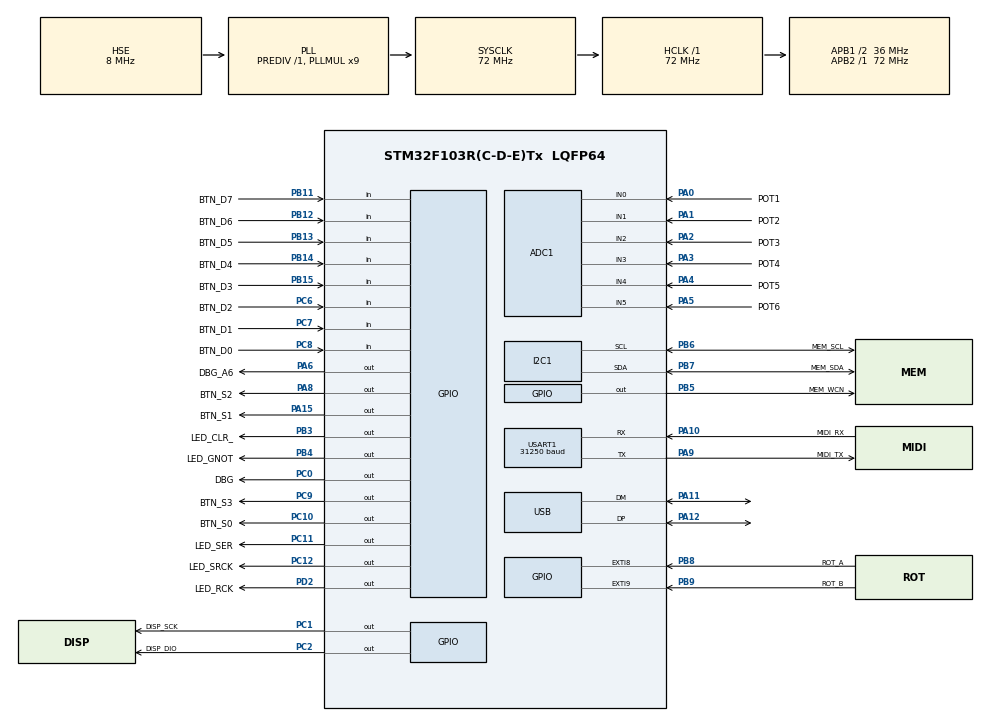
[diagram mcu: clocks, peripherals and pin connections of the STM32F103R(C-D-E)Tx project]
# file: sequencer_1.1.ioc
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ADC1.Channel-0\#ChannelRegularConversion=ADC_CHANNEL_3
ADC1.Channel-1\#ChannelRegularConversion=ADC_CHANNEL_4
ADC1.Channel-2\#ChannelRegularConversion=ADC_CHANNEL_5
ADC1.ContinuousConvMode=ENABLE
ADC1.NbrOfConversion=3
ADC1.NbrOfConversionFlag=1
ADC1.Rank-0\#ChannelRegularConversion=1
ADC1.Rank-1\#ChannelRegularConversion=2
ADC1.Rank-2\#ChannelRegularConversion=3
ADC1.SamplingTime-0\#ChannelRegularConversion=ADC_SAMPLETIME_55CYCLES_5
ADC1.SamplingTime-1\#ChannelRegularConversion=ADC_SAMPLETIME_55CYCLES_5
ADC1.SamplingTime-2\#ChannelRegularConversion=ADC_SAMPLETIME_55CYCLES_5
ADC1.master=1
Dma.ADC1.0.Direction=DMA_PERIPH_TO_MEMORY
Dma.ADC1.0.Instance=DMA1_Channel1
Dma.ADC1.0.MemDataAlignment=DMA_MDATAALIGN_HALFWORD
Dma.ADC1.0.MemInc=DMA_MINC_ENABLE
Dma.ADC1.0.Mode=DMA_CIRCULAR
Dma.ADC1.0.PeriphDataAlignment=DMA_PDATAALIGN_HALFWORD
Dma.ADC1.0.PeriphInc=DMA_PINC_DISABLE
Dma.ADC1.0.Priority=DMA_PRIORITY_LOW
Dma.Request0=ADC1
Dma.Request1=USART1_RX
Dma.USART1_RX.1.Direction=DMA_PERIPH_TO_MEMORY
Dma.USART1_RX.1.Instance=DMA1_Channel5
Dma.USART1_RX.1.MemDataAlignment=DMA_MDATAALIGN_BYTE
Dma.USART1_RX.1.MemInc=DMA_MINC_ENABLE
Dma.USART1_RX.1.Mode=DMA_CIRCULAR
Dma.USART1_RX.1.PeriphDataAlignment=DMA_PDATAALIGN_BYTE
Dma.USART1_RX.1.PeriphInc=DMA_PINC_DISABLE
Dma.USART1_RX.1.Priority=DMA_PRIORITY_LOW
FREERTOS.BinarySemaphores01=myBinarySem01,Dynamic,NULL,Available
FREERTOS.Tasks01=defaultTask,0,128,StartDefaultTask,Default,NULL,Dynamic,NULL,NULL
Mcu.Family=STM32F1
Mcu.Name=STM32F103R(C-D-E)Tx
Mcu.Package=LQFP64
NVIC.DMA1_Channel1_IRQn=true\:5\:0\:false\:false\:true\:true\:false\:true\:true
NVIC.DMA1_Channel5_IRQn=true\:5\:0\:false\:false\:true\:true\:false\:true\:true
NVIC.EXTI9_5_IRQn=true\:5\:0\:false\:false\:true\:true\:true\:true\:true
NVIC.PriorityGroup=NVIC_PRIORITYGROUP_4
NVIC.TIM1_UP_IRQn=true\:2\:0\:true\:false\:true\:false\:true\:true\:true
NVIC.TIM3_IRQn=true\:0\:0\:true\:false\:true\:false\:true\:true\:true
NVIC.TIM7_IRQn=true\:15\:0\:false\:false\:true\:false\:false\:true\:true
NVIC.TimeBase=TIM7_IRQn
NVIC.TimeBaseIP=TIM7
NVIC.USART1_IRQn=true\:1\:0\:true\:false\:true\:false\:true\:true\:true
PA0-WKUP.GPIO_Label=POT1
PA0-WKUP.Signal=ADCx_IN0
PA1.GPIO_Label=POT2
PA1.Signal=ADCx_IN1
PA10.GPIO_Label=MIDI_RX
PA10.Mode=Asynchronous
PA10.Signal=USART1_RX
PA11.Mode=Device
PA11.Signal=USB_DM
PA12.Mode=Device
PA12.Signal=USB_DP
PA13.Mode=Serial_Wire
PA13.Signal=SYS_JTMS-SWDIO
PA14.Mode=Serial_Wire
PA14.Signal=SYS_JTCK-SWCLK
PA15.GPIO_Label=BTN_S1
PA15.Signal=GPIO_Output
PA2.GPIO_Label=POT3
PA2.Signal=ADCx_IN2
PA3.GPIO_Label=POT4
PA3.Signal=ADCx_IN3
PA4.GPIO_Label=POT5
PA4.Signal=ADCx_IN4
PA5.GPIO_Label=POT6
PA5.Signal=ADCx_IN5
PA6.GPIO_Label=DBG_A6
PA6.Signal=GPIO_Output
PA8.GPIO_Label=BTN_S2
PA8.Signal=GPIO_Output
PA9.GPIO_Label=MIDI_TX
PA9.Mode=Asynchronous
PA9.Signal=USART1_TX
PB11.GPIO_Label=BTN_D7
PB11.GPIO_PuPd=GPIO_PULLDOWN
PB11.Signal=GPIO_Input
PB12.GPIO_Label=BTN_D6
PB12.GPIO_PuPd=GPIO_PULLDOWN
PB12.Signal=GPIO_Input
PB13.GPIO_Label=BTN_D5
PB13.GPIO_PuPd=GPIO_PULLDOWN
PB13.Signal=GPIO_Input
PB14.GPIO_Label=BTN_D4
PB14.GPIO_PuPd=GPIO_PULLDOWN
PB14.Signal=GPIO_Input
PB15.GPIO_Label=BTN_D3
PB15.GPIO_PuPd=GPIO_PULLDOWN
PB15.Signal=GPIO_Input
PB3.GPIO_Label=LED_CLR_
PB3.GPIO_ModeDefaultOutputPP=GPIO_MODE_OUTPUT_OD
PB3.GPIO_PuPd=GPIO_NOPULL
PB3.PinState=GPIO_PIN_SET
PB3.Signal=GPIO_Output
PB4.GPIO_Label=LED_GNOT
PB4.GPIO_ModeDefaultOutputPP=GPIO_MODE_OUTPUT_OD
PB4.GPIO_PuPd=GPIO_NOPULL
PB4.PinState=GPIO_PIN_SET
PB4.Signal=GPIO_Output
PB5.GPIO_Label=MEM_WCN
PB5.GPIO_ModeDefaultOutputPP=GPIO_MODE_OUTPUT_PP
PB5.GPIO_PuPd=GPIO_NOPULL
PB5.PinState=GPIO_PIN_SET
PB5.Signal=GPIO_Output
PB6.GPIO_Label=MEM_SCL
PB6.Mode=I2C
PB6.Signal=I2C1_SCL
PB7.GPIO_Label=MEM_SDA
PB7.Mode=I2C
PB7.Signal=I2C1_SDA
PB8.GPIO_Label=ROT_A
PB8.GPIO_ModeDefaultEXTI=GPIO_MODE_IT_RISING_FALLING
PB8.GPIO_PuPd=GPIO_PULLUP
PB8.Signal=GPXTI8
PB9.GPIO_Label=ROT_B
PB9.GPIO_ModeDefaultEXTI=GPIO_MODE_IT_RISING_FALLING
PB9.GPIO_PuPd=GPIO_PULLUP
PB9.Signal=GPXTI9
PC0.GPIO_Label=DBG
PC0.Signal=GPIO_Output
PC1.GPIO_Label=DISP_SCK
PC1.GPIO_ModeDefaultOutputPP=GPIO_MODE_OUTPUT_OD
PC1.GPIO_PuPd=GPIO_NOPULL
PC1.PinState=GPIO_PIN_SET
PC1.Signal=GPIO_Output
PC10.GPIO_Label=BTN_S0
PC10.Signal=GPIO_Output
PC11.GPIO_Label=LED_SER
PC11.GPIO_ModeDefaultOutputPP=GPIO_MODE_OUTPUT_OD
PC11.GPIO_PuPd=GPIO_NOPULL
PC11.PinState=GPIO_PIN_SET
PC11.Signal=GPIO_Output
PC12.GPIO_Label=LED_SRCK
PC12.GPIO_ModeDefaultOutputPP=GPIO_MODE_OUTPUT_OD
PC12.GPIO_PuPd=GPIO_NOPULL
PC12.PinState=GPIO_PIN_SET
PC12.Signal=GPIO_Output
PC2.GPIO_Label=DISP_DIO
PC2.GPIO_ModeDefaultOutputPP=GPIO_MODE_OUTPUT_OD
PC2.GPIO_PuPd=GPIO_NOPULL
PC2.PinState=GPIO_PIN_SET
PC2.Signal=GPIO_Output
PC6.GPIO_Label=BTN_D2
PC6.GPIO_PuPd=GPIO_PULLDOWN
PC6.Signal=GPIO_Input
PC7.GPIO_Label=BTN_D1
PC7.GPIO_PuPd=GPIO_PULLDOWN
PC7.Signal=GPIO_Input
PC8.GPIO_Label=BTN_D0
PC8.GPIO_PuPd=GPIO_PULLDOWN
PC8.Signal=GPIO_Input
PC9.GPIO_Label=BTN_S3
PC9.Signal=GPIO_Output
PD0-OSC_IN.Mode=HSE-External-Oscillator
PD0-OSC_IN.Signal=RCC_OSC_IN
PD1-OSC_OUT.Mode=HSE-External-Oscillator
PD1-OSC_OUT.Signal=RCC_OSC_OUT
PD2.GPIO_Label=LED_RCK
PD2.GPIO_ModeDefaultOutputPP=GPIO_MODE_OUTPUT_OD
PD2.GPIO_PuPd=GPIO_NOPULL
PD2.PinState=GPIO_PIN_SET
PD2.Signal=GPIO_Output
ProjectManager.HeapSize=0x200
ProjectManager.StackSize=0x400
ProjectManager.TargetToolchain=CMake
RCC.ADCPresc=RCC_ADCPCLK2_DIV6
RCC.AHBFreq_Value=72000000
RCC.APB1CLKDivider=RCC_HCLK_DIV2
RCC.APB1Freq_Value=36000000
RCC.APB1TimFreq_Value=72000000
RCC.APB2Freq_Value=72000000
RCC.APB2TimFreq_Value=72000000
RCC.HCLKFreq_Value=72000000
RCC.PLLMUL=RCC_PLL_MUL9
RCC.PLLSourceVirtual=RCC_PLLSOURCE_HSE
RCC.SYSCLKFreq_VALUE=72000000
RCC.SYSCLKSource=RCC_SYSCLKSOURCE_PLLCLK
RCC.USBFreq_Value=48000000
RCC.USBPrescaler=RCC_USBCLKSOURCE_PLL_DIV1_5
SH.ADCx_IN0.0=ADC1_IN0,IN0
SH.ADCx_IN1.0=ADC1_IN1,IN1
SH.ADCx_IN2.0=ADC1_IN2,IN2
SH.ADCx_IN3.0=ADC1_IN3,IN3
SH.ADCx_IN4.0=ADC1_IN4,IN4
SH.ADCx_IN5.0=ADC1_IN5,IN5
TIM1.Period=1000-1
TIM1.Prescaler=72-1
TIM2.Period=65535
TIM2.Prescaler=72-1
TIM3.Period=100
TIM3.Prescaler=72-1
USART1.BaudRate=31250
USART1.VirtualMode=VM_ASYNC
VP_FREERTOS_VS_CMSIS_V1.Mode=CMSIS_V1
VP_SYS_VS_tim7.Mode=TIM7
VP_TIM1_VS_ClockSourceINT.Mode=Internal
VP_TIM2_VS_ClockSourceINT.Mode=Internal
VP_TIM3_VS_ClockSourceINT.Mode=Internal
board=custom

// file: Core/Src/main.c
/* USER CODE BEGIN Header */
/**
  ******************************************************************************
  * @file           : main.c
  * @brief          : Main program body
  ******************************************************************************
  * @attention
  *
  * Copyright (c) 2025 STMicroelectronics.
  * All rights reserved.
  *
  * This software is licensed under terms that can be found in the LICENSE file
  * in the root directory of this software component.
  * If no LICENSE file comes with this software, it is provided AS-IS.
  *
  ******************************************************************************
  */
/* USER CODE END Header */
#include "main.h"
#include "cmsis_os.h"
#include "adc.h"
#include "dma.h"
#include "i2c.h"
#include "tim.h"
#include "usart.h"
#include "usb.h"
#include "gpio.h"

/* USER CODE BEGIN Includes */
#include "led.h"
#include "tasks.h"
#include "midi.h"
#include "uart_buffer.h"
#include "app.h"
#include "buttons.h"

/* USER CODE END Includes */

void SystemClock_Config(void);
void MX_FREERTOS_Init(void);

/* USER CODE BEGIN 0 */

volatile uint8 rotA_cooldownMs = 0;
volatile uint8 rotB_cooldownMs = 0;

volatile uint8 tempoChangeCooldown = 0;

volatile uint16 counter_100us = 0;

volatile uint32 lastTimestamp = 0;
volatile uint32 nextTimestamp = 0;

volatile uint16 syncCnt = 0;            // midi sync event counter

const uint8_t midiClockMsg = 0xF8;

/**
  * @brief  Calculate the new value for the 100us counter based on the tempo change event
  * @param cntr_100us     current value of the counter
  * @param syncCntr       the counter which holds the index of the sync event already reached in the timestamp table
  * @param timestamps     pointer to the timestamps table (which should be already updated by the main task by now)
  * @param lastTimestamp  where the last timestamp was according to the table before the tempo change
  * @param nextTimestamp  where the next timestamp was according to the table before the tempo change
  * @param tempoChanged   the type (direction) of the tempo change event
  * @retval               new value of the counter
  */
static uint16 CalcNewCounterValue(uint16 cntr_100us, uint16 syncCntr, uint32 *timestamps, uint32 lastTimestamp, uint32 nextTimestamp, TempoChange_e tempoChanged)
{
  uint16 elapsedSinceLastClock_old = cntr_100us - lastTimestamp;
  uint16 leftUntilNextClock_old = nextTimestamp - cntr_100us;
  uint16 deltaT_new = timestamps[1];

  if(tempoChanged == TEMPO_INCREASED)
  {
    return timestamps[syncCnt] + MIN((deltaT_new - leftUntilNextClock_old), deltaT_new);
  }
  else if(tempoChanged == TEMPO_DECREASED)
  {
    return timestamps[syncCnt] + elapsedSinceLastClock_old;
  }
}

/* USER CODE END 0 */

int main(void)
{

  /* MCU Configuration--------------------------------------------------------*/

  /* Reset of all peripherals, Initializes the Flash interface and the Systick. */
  HAL_Init();

  /* Configure the system clock */
  SystemClock_Config();

  /* Initialize all configured peripherals */
  MX_GPIO_Init();
  MX_DMA_Init();
  MX_ADC1_Init();
  MX_USART1_UART_Init();
  MX_I2C1_Init();
  MX_USB_PCD_Init();
  MX_TIM1_Init();
  MX_TIM2_Init();
  MX_TIM3_Init();
  /* USER CODE BEGIN 2 */

  //LED_SetAll();
  InitApp();

  /* USER CODE END 2 */

  /* Call init function for freertos objects (in cmsis_os2.c) */
  MX_FREERTOS_Init();

  /* Start scheduler */
  osKernelStart();

  /* We should never get here as control is now taken by the scheduler */

  /* Infinite loop */
  while (1)
  {

  }
}

void SystemClock_Config(void)
{
  RCC_OscInitTypeDef RCC_OscInitStruct = {0};
  RCC_ClkInitTypeDef RCC_ClkInitStruct = {0};
  RCC_PeriphCLKInitTypeDef PeriphClkInit = {0};

  /** Initializes the RCC Oscillators according to the specified parameters
  * in the RCC_OscInitTypeDef structure.
  */
  RCC_OscInitStruct.OscillatorType = RCC_OSCILLATORTYPE_HSE;
  RCC_OscInitStruct.HSEState = RCC_HSE_ON;
  RCC_OscInitStruct.HSEPredivValue = RCC_HSE_PREDIV_DIV1;
  RCC_OscInitStruct.HSIState = RCC_HSI_ON;
  RCC_OscInitStruct.PLL.PLLState = RCC_PLL_ON;
  RCC_OscInitStruct.PLL.PLLSource = RCC_PLLSOURCE_HSE;
  RCC_OscInitStruct.PLL.PLLMUL = RCC_PLL_MUL9;
  if (HAL_RCC_OscConfig(&RCC_OscInitStruct) != HAL_OK)
  {
    Error_Handler();
  }

  /** Initializes the CPU, AHB and APB buses clocks
  */
  RCC_ClkInitStruct.ClockType = RCC_CLOCKTYPE_HCLK|RCC_CLOCKTYPE_SYSCLK
                              |RCC_CLOCKTYPE_PCLK1|RCC_CLOCKTYPE_PCLK2;
  RCC_ClkInitStruct.SYSCLKSource = RCC_SYSCLKSOURCE_PLLCLK;
  RCC_ClkInitStruct.AHBCLKDivider = RCC_SYSCLK_DIV1;
  RCC_ClkInitStruct.APB1CLKDivider = RCC_HCLK_DIV2;
  RCC_ClkInitStruct.APB2CLKDivider = RCC_HCLK_DIV1;

  if (HAL_RCC_ClockConfig(&RCC_ClkInitStruct, FLASH_LATENCY_2) != HAL_OK)
  {
    Error_Handler();
  }
  PeriphClkInit.PeriphClockSelection = RCC_PERIPHCLK_ADC|RCC_PERIPHCLK_USB;
  PeriphClkInit.AdcClockSelection = RCC_ADCPCLK2_DIV6;
  PeriphClkInit.UsbClockSelection = RCC_USBCLKSOURCE_PLL_DIV1_5;
  if (HAL_RCCEx_PeriphCLKConfig(&PeriphClkInit) != HAL_OK)
  {
    Error_Handler();
  }
}

void HAL_TIM_PeriodElapsedCallback(TIM_HandleTypeDef *htim)
{
  /* USER CODE BEGIN Callback 0 */
  // 1 ms
    if (htim->Instance == TIM1)
    {
      if(tempoChangeCooldown != 0)
      {
        tempoChangeCooldown--;
      }
      seq[0].stepTimeCnt_ms++;
      seq[1].stepTimeCnt_ms++;
      seq[2].stepTimeCnt_ms++;
      seq[3].stepTimeCnt_ms++;
      app.blinkCnt_ms++;

      for(int i=0; i<32; i++)
      {
        if(btnDelay_ms[i] > 0)
        {
          btnDelay_ms[i]--;
        }
      }

      if(0 < rotA_cooldownMs)
      {
        rotA_cooldownMs--;
      }

      if(0 < rotB_cooldownMs)
      {
          rotB_cooldownMs--;
      }
    }
    // 100us
    if(htim->Instance == TIM3)
    {
      // transitional period, wait for main task to clear flag
      if(app.globStopFlag || app.globStartFlag)
      {
        counter_100us = 0;
        syncCnt = 0;
        lastTimestamp = 0;
        nextTimestamp = app.syncTimestamps_100us[1];
      }
      else
      {
        if(app.tempoChanged != TEMPO_UNCHANGED)
        {
          counter_100us = CalcNewCounterValue(counter_100us, syncCnt, app.syncTimestamps_100us, lastTimestamp, nextTimestamp, app.tempoChanged);
          app.tempoChanged = TEMPO_UNCHANGED;
        }
        if(counter_100us == app.syncTimestamps_100us[syncCnt+1])  // counter reached sync event
        {
          counter_100us++;

          HAL_GPIO_TogglePin(DBG_GPIO_Port, DBG_Pin);

          if(app.blinkSyncCnt == 23)
          {
            app.blinkSyncCnt = 0;
          }
          else
          {
            app.blinkSyncCnt++;
          }

          UART_Buf_AddToQueue(&midiClockMsg, 1);
          if(app.globPlaying)
          {
            if(syncCnt == 23) // 1/4 note reached, counter resets
            {
              syncCnt = 0;
              counter_100us = 0;
              lastTimestamp = 0;
              nextTimestamp = app.syncTimestamps_100us[1];
            }
            else
            {
              syncCnt++;
              lastTimestamp = app.syncTimestamps_100us[syncCnt];
              nextTimestamp = app.syncTimestamps_100us[syncCnt+1];
            }
          }
          else  // not playing
          {
            counter_100us = 0;
          }
        }
        else if(counter_100us > app.syncTimestamps_100us[syncCnt+1])
        {
          counter_100us = 0;
        }
        else
        {
          counter_100us++;
        }
      }
      UART_Buf_Send();
    }

  /* USER CODE END Callback 0 */
  if (htim->Instance == TIM7)
  {
    HAL_IncTick();
  }
}

void Error_Handler(void)
{
  __disable_irq();
  while (1)
  {
  }
}

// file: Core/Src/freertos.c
/* USER CODE BEGIN Header */
/**
  ******************************************************************************
  * File Name          : freertos.c
  * Description        : Code for freertos applications
  ******************************************************************************
  * @attention
  *
  * Copyright (c) 2025 STMicroelectronics.
  * All rights reserved.
  *
  * This software is licensed under terms that can be found in the LICENSE file
  * in the root directory of this software component.
  * If no LICENSE file comes with this software, it is provided AS-IS.
  *
  ******************************************************************************
  */
/* USER CODE END Header */

#include "FreeRTOS.h"
#include "task.h"
#include "main.h"
#include "cmsis_os.h"

/* USER CODE BEGIN Includes */
#include "led.h"
#include "tasks.h"

/* USER CODE END Includes */

osThreadId defaultTaskHandle;
osSemaphoreId myBinarySem01Handle;

void StartDefaultTask(void const * argument);

void MX_FREERTOS_Init(void); /* (MISRA C 2004 rule 8.1) */

/* GetIdleTaskMemory prototype (linked to static allocation support) */
void vApplicationGetIdleTaskMemory( StaticTask_t **ppxIdleTaskTCBBuffer, StackType_t **ppxIdleTaskStackBuffer, uint32_t *pulIdleTaskStackSize );

/* USER CODE BEGIN GET_IDLE_TASK_MEMORY */
static StaticTask_t xIdleTaskTCBBuffer;
static StackType_t xIdleStack[configMINIMAL_STACK_SIZE];

void vApplicationGetIdleTaskMemory( StaticTask_t **ppxIdleTaskTCBBuffer, StackType_t **ppxIdleTaskStackBuffer, uint32_t *pulIdleTaskStackSize )
{
  *ppxIdleTaskTCBBuffer = &xIdleTaskTCBBuffer;
  *ppxIdleTaskStackBuffer = &xIdleStack[0];
  *pulIdleTaskStackSize = configMINIMAL_STACK_SIZE;
  /* place for user code */
}
/* USER CODE END GET_IDLE_TASK_MEMORY */

void MX_FREERTOS_Init(void) {

  /* Create the semaphores(s) */
  /* definition and creation of myBinarySem01 */
  osSemaphoreDef(myBinarySem01);
  myBinarySem01Handle = osSemaphoreCreate(osSemaphore(myBinarySem01), 1);

  /* Create the thread(s) */
  /* definition and creation of defaultTask */
  osThreadDef(defaultTask, StartDefaultTask, osPriorityNormal, 0, 128);
  defaultTaskHandle = osThreadCreate(osThread(defaultTask), NULL);

}

void StartDefaultTask(void const * argument)
{
  /* USER CODE BEGIN StartDefaultTask */

  while(1)
  {
    ;
  }
  /* USER CODE END StartDefaultTask */
}
